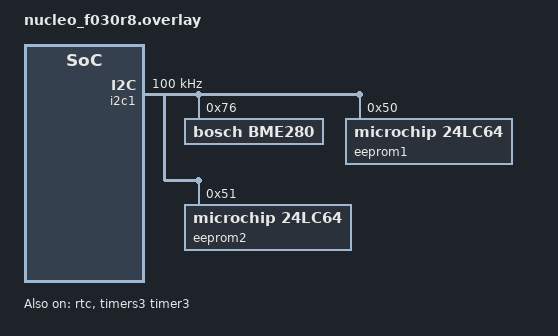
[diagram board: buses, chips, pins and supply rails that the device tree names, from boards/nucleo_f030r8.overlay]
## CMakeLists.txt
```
# SPDX-License-Identifier: Apache-2.0

cmake_minimum_required(VERSION 3.20.0)
set(BOARD nrf52833dk_nrf52833)
# set(BOARD nrf52840dongle_nrf52840)

find_package(Zephyr REQUIRED HINTS $ENV{ZEPHYR_BASE})
project(domotica)

FILE(GLOB app_sources src/*.c)
target_sources(app PRIVATE ${app_sources})
```

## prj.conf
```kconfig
CONFIG_SYSTEM_WORKQUEUE_STACK_SIZE=2048

CONFIG_BOARD_HAS_NRF5_BOOTLOADER=n

CONFIG_BT_SETTINGS=y
CONFIG_FLASH=y
CONFIG_FLASH_MAP=y
CONFIG_NVS=y
CONFIG_SETTINGS=y
CONFIG_HWINFO=y

CONFIG_BT=y
CONFIG_BT_L2CAP_TX_BUF_COUNT=5
CONFIG_BT_PERIPHERAL=y
CONFIG_BT_OBSERVER=y
CONFIG_BT_BROADCASTER=y

CONFIG_BT_CTLR_DUP_FILTER_LEN=0
CONFIG_BT_CTLR_LE_ENC=n
CONFIG_BT_CTLR_LE_PING=n
CONFIG_BT_DATA_LEN_UPDATE=n
CONFIG_BT_PHY_UPDATE=n
CONFIG_BT_CTLR_MIN_USED_CHAN=n
CONFIG_BT_CTLR_PRIVACY=n
CONFIG_BT_CTLR_CHAN_SEL_2=n

CONFIG_BT_MESH=y
CONFIG_BT_MESH_MODEL_EXTENSIONS=y
CONFIG_BT_MESH_RELAY=y
CONFIG_BT_MESH_FRIEND=y
CONFIG_BT_MESH_PB_GATT=y
CONFIG_BT_MESH_PB_ADV=y
CONFIG_BT_MESH_GATT_PROXY=y

CONFIG_BT_MESH_SUBNET_COUNT=2
CONFIG_BT_MESH_APP_KEY_COUNT=2
CONFIG_BT_MESH_MODEL_GROUP_COUNT=2
CONFIG_BT_MESH_LABEL_COUNT=3

CONFIG_BT_MESH_CFG_CLI=y
CONFIG_BT_MESH_CFG_CLI_TIMEOUT=6000
```

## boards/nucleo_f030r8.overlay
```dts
/*
 * Copyright (c) 2023 JSC
 */

/** From st,stm32-i2c-v2.yaml

@see TIMING_R in user manual!!!

timings = <64000000 I2C_BITRATE_STANDARD 0x10707DBC>,
          <64000000 I2C_BITRATE_FAST 0x00603D56>,
          <56000000 I2C_BITRATE_STANDARD 0x10606DA4>,
          <56000000 I2C_BITRATE_FAST 0x00501D63>;
 */

&i2c1 {
	bme280@76 {
		compatible = "bosch,bme280";
		reg = <0x76>;
		status = "okay";
	};
	clock-frequency = <I2C_BITRATE_STANDARD>;
	timings = <8000000 I2C_BITRATE_STANDARD 0x10420F13>,
	          <16000000 I2C_BITRATE_STANDARD 0x30420F13>,
	          <48000000 I2C_BITRATE_STANDARD 0xB0420F13>;
	status = "okay";

	eeprom1: e24lc64@50 {
		compatible = "microchip,24lc64";
		reg = <0x50>;
		size = <8192>; // Size in bytes
		status = "okay";
	};

	eeprom2: e24lc64@51 {
		compatible = "microchip,24lc64";
		reg = <0x51>;
		size = <8192>; // Size in bytes
		status = "okay";
	};

//16.384
};

&rtc {
    status="okay";
    clocks = < &rcc 0x1c 0x10000000 >, < &rcc STM32_SRC_LSE RTC_SEL(1) >;
}; 

&clk_lse {
    status="okay";
    driving-capability = < 0x1 >;
    /delete-property/ lse-bypass;
};

&timers3{
	status = "okay";
	label = "timer3";
};
```

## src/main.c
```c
/* main.c - Application main entry point */

/*
 * Copyright (c) 2017 Intel Corporation
 *
 * SPDX-License-Identifier: Apache-2.0
 */

#include <zephyr/sys/printk.h>

#include <zephyr/settings/settings.h>
#include <zephyr/devicetree.h>
#include <zephyr/device.h>
#include <zephyr/drivers/gpio.h>
#include <zephyr/drivers/hwinfo.h>
#include <zephyr/sys/byteorder.h>

#include <zephyr/bluetooth/bluetooth.h>
#include <zephyr/bluetooth/mesh.h>

#include <zephyr/bluetooth/mesh/cfg_cli.h> //For adding subscribtions
#include <zephyr/bluetooth/mesh/cfg_srv.h> //For adding subscribtions

#include "/Users/dinordi/zephyrproject/zephyr/include/zephyr/bluetooth/mesh/cfg_cli.h"

#include "board.h"

#define OP_ONOFF_GET       BT_MESH_MODEL_OP_2(0x82, 0x01)
#define OP_ONOFF_SET       BT_MESH_MODEL_OP_2(0x82, 0x02)
#define OP_ONOFF_SET_UNACK BT_MESH_MODEL_OP_2(0x82, 0x03)
#define OP_ONOFF_STATUS    BT_MESH_MODEL_OP_2(0x82, 0x04)

#define LED0_NODE DT_ALIAS(led0)
#define LED_GPIO_DEV_NAME DT_LABEL(DT_ALIAS(led_gpio))
static const struct gpio_dt_spec led = GPIO_DT_SPEC_GET(LED0_NODE, gpios);

BT_MESH_MODEL_PUB_DEFINE(gen_onoff_pub_cli, NULL, 2 + 2);

static bool button_pressed_flag = false;
static int gen_onoff_send(bool val);


// #define LED_PORT DT_GPIO_LABEL(DT_ALIAS(led0), gpios)
// #define LED_PIN DT_GPIO_PIN(DT_ALIAS(led0), gpios)

static void attention_on(struct bt_mesh_model *mod)
{
	board_led_set(true);
}

static void attention_off(struct bt_mesh_model *mod)
{
	board_led_set(false);
}

static const struct bt_mesh_health_srv_cb health_cb = {
	.attn_on = attention_on,
	.attn_off = attention_off,
};

static struct bt_mesh_health_srv health_srv = {
	.cb = &health_cb,
};

BT_MESH_HEALTH_PUB_DEFINE(health_pub, 0);

static const char *const onoff_str[] = { "off", "on" };

static struct {
	bool val;
	uint8_t tid;
	uint16_t src;
	uint32_t transition_time;
	struct k_work_delayable work;
} onoff;

/* OnOff messages' transition time and remaining time fields are encoded as an
 * 8 bit value with a 6 bit step field and a 2 bit resolution field.
 * The resolution field maps to:
 * 0: 100 ms
 * 1: 1 s
 * 2: 10 s
 * 3: 20 min
 */
static const uint32_t time_res[] = {
	100,
	MSEC_PER_SEC,
	10 * MSEC_PER_SEC,
	10 * 60 * MSEC_PER_SEC,
};

static inline int32_t model_time_decode(uint8_t val)
{
	uint8_t resolution = (val >> 6) & BIT_MASK(2);
	uint8_t steps = val & BIT_MASK(6);

	if (steps == 0x3f) {
		return SYS_FOREVER_MS;
	}

	return steps * time_res[resolution];
}

static inline uint8_t model_time_encode(int32_t ms)
{
	if (ms == SYS_FOREVER_MS) {
		return 0x3f;
	}

	for (int i = 0; i < ARRAY_SIZE(time_res); i++) {
		if (ms >= BIT_MASK(6) * time_res[i]) {
			continue;
		}

		uint8_t steps = DIV_ROUND_UP(ms, time_res[i]);

		return steps | (i << 6);
	}

	return 0x3f;
}

static int onoff_status_send(struct bt_mesh_model *model,
			     struct bt_mesh_msg_ctx *ctx)
{
	uint32_t remaining;

	BT_MESH_MODEL_BUF_DEFINE(buf, OP_ONOFF_STATUS, 3);
	bt_mesh_model_msg_init(&buf, OP_ONOFF_STATUS);

	remaining = k_ticks_to_ms_floor32(
			    k_work_delayable_remaining_get(&onoff.work)) +
		    onoff.transition_time;

	/* Check using remaining time instead of "work pending" to make the
	 * onoff status send the right value on instant transitions. As the
	 * work item is executed in a lower priority than the mesh message
	 * handler, the work will be pending even on instant transitions.
	 */
	if (remaining) {
		net_buf_simple_add_u8(&buf, !onoff.val);
		net_buf_simple_add_u8(&buf, onoff.val);
		net_buf_simple_add_u8(&buf, model_time_encode(remaining));
	} else {
		net_buf_simple_add_u8(&buf, onoff.val);
	}

	return bt_mesh_model_send(model, ctx, &buf, NULL, NULL);
}

static void onoff_timeout(struct k_work *work)
{
	if (onoff.transition_time) {
		/* Start transition.
		 *
		 * The LED should be on as long as the transition is in
		 * progress, regardless of the target value, according to the
		 * Bluetooth Mesh Model specification, section 3.1.1.
		 */
		board_led_set(true);

		k_work_reschedule(&onoff.work, K_MSEC(onoff.transition_time));
		onoff.transition_time = 0;
		return;
	}

	board_led_set(onoff.val);
}

/* Generic OnOff Server message handlers */

static int gen_onoff_get(struct bt_mesh_model *model,
			 struct bt_mesh_msg_ctx *ctx,
			 struct net_buf_simple *buf)
{
	printk("Get received!\n");
	onoff_status_send(model, ctx);
	return 0;
}

static int gen_onoff_set_unack(struct bt_mesh_model *model,
			       struct bt_mesh_msg_ctx *ctx,
			       struct net_buf_simple *buf)
{
	uint8_t val = net_buf_simple_pull_u8(buf);
	uint8_t tid = net_buf_simple_pull_u8(buf);
	int32_t trans = 0;
	int32_t delay = 0;

	if (buf->len) {
		trans = model_time_decode(net_buf_simple_pull_u8(buf));
		delay = net_buf_simple_pull_u8(buf) * 5;
	}

	/* Only perform change if the message wasn't a duplicate and the
	 * value is different.
	 */
	if (tid == onoff.tid && ctx->addr == onoff.src) {
		/* Duplicate */
		return 0;
	}

	if (val == onoff.val) {
		/* No change */
		return 0;
	}

	printk("set: %s delay: %d ms time: %d ms\n", onoff_str[val], delay,
	       trans);

	onoff.tid = tid;
	onoff.src = ctx->addr;
	onoff.val = val;
	onoff.transition_time = trans;

	/* Schedule the next action to happen on the delay, and keep
	 * transition time stored, so it can be applied in the timeout.
	 */
	k_work_reschedule(&onoff.work, K_MSEC(delay));

	return 0;
}

static void gen_onoff_set(struct bt_mesh_model *model,
						  struct bt_mesh_msg_ctx *ctx,
						  struct net_buf_simple *buf)
{
	uint8_t onoff_state = net_buf_simple_pull_u8(buf);

	/* Toggle the LED based on the onoff_state */
	if (onoff_state) {
		gpio_pin_set_dt(&led, 1);
		printk("LED ON\n");
	} else {
		gpio_pin_set_dt(&led, 0);
		printk("LED OFF\n");
	}

	/* Prepare a response */
	NET_BUF_SIMPLE_DEFINE(msg, 2 + 1 + 4);
	bt_mesh_model_msg_init(&msg, BT_MESH_MODEL_OP_2(0x82, 0x04));

	/* Add the OnOff state to the message */
	net_buf_simple_add_u8(&msg, onoff_state);

	/* Send the response */
	bt_mesh_model_send(model, ctx, &msg, NULL, NULL);
}

static const struct bt_mesh_model_op gen_onoff_srv_op[] = {
	{ OP_ONOFF_GET,       BT_MESH_LEN_EXACT(0), gen_onoff_get },
	{ OP_ONOFF_SET,       BT_MESH_LEN_MIN(2),   gen_onoff_set },
	{ OP_ONOFF_SET_UNACK, BT_MESH_LEN_MIN(2),   gen_onoff_set_unack },
	BT_MESH_MODEL_OP_END,
};

/* Generic OnOff Client */

static int gen_onoff_status(struct bt_mesh_model *model,
			    struct bt_mesh_msg_ctx *ctx,
			    struct net_buf_simple *buf)
{
	uint8_t present = net_buf_simple_pull_u8(buf);

	if (buf->len) {
		uint8_t target = net_buf_simple_pull_u8(buf);
		int32_t remaining_time =
			model_time_decode(net_buf_simple_pull_u8(buf));

		printk("OnOff status: %s -> %s: (%d ms)\n", onoff_str[present],
		       onoff_str[target], remaining_time);
		return 0;
	}

	printk("OnOff status: %s\n", onoff_str[present]);
	onoff.val = present;
	if(button_pressed_flag)
	{
		button_pressed_flag = false;
		printk("Button pressed\n");
		(void)gen_onoff_send(!onoff.val);
	}

	return 0;
}

static const struct bt_mesh_model_op gen_onoff_cli_op[] = {
	{OP_ONOFF_STATUS, BT_MESH_LEN_MIN(1), gen_onoff_status},
	BT_MESH_MODEL_OP_END,
};

static struct bt_mesh_cfg_cli cfg_cli;

/* This application only needs one element to contain its models */
static struct bt_mesh_model models[] = {
	BT_MESH_MODEL_CFG_SRV,
	BT_MESH_MODEL_HEALTH_SRV(&health_srv, &health_pub),
	BT_MESH_MODEL(BT_MESH_MODEL_ID_GEN_ONOFF_SRV, gen_onoff_srv_op, NULL,
		      NULL),
	BT_MESH_MODEL(BT_MESH_MODEL_ID_GEN_ONOFF_CLI, gen_onoff_cli_op, &gen_onoff_pub_cli,
		      &onoff),
};

static struct bt_mesh_elem elements[] = {
	BT_MESH_ELEM(0, models, BT_MESH_MODEL_NONE),
};

static const struct bt_mesh_comp comp = {
	.cid = BT_COMP_ID_LF,
	.elem = elements,
	.elem_count = ARRAY_SIZE(elements),
};

/* Provisioning */

static int output_number(bt_mesh_output_action_t action, uint32_t number)
{
	printk("OOB Number: %u\n", number);

	board_output_number(action, number);

	return 0;
}

static void prov_complete(uint16_t net_idx, uint16_t addr)
{
	board_prov_complete();
}

static void prov_reset(void)
{
	bt_mesh_prov_enable(BT_MESH_PROV_ADV | BT_MESH_PROV_GATT);
}

static uint8_t dev_uuid[16];

static const struct bt_mesh_prov prov = {
	.uuid = dev_uuid,
	.output_size = 4,
	.output_actions = BT_MESH_DISPLAY_NUMBER,
	.output_number = output_number,
	.complete = prov_complete,
	.reset = prov_reset,
};

/** Send an OnOff Set message from the Generic OnOff Client to all nodes. */
static int gen_onoff_send(bool val)
{
	struct bt_mesh_msg_ctx ctx = {
		.app_idx = models[3].keys[0], /* Use the bound key */
		.addr = models[3].groups[0],
		.send_ttl = BT_MESH_TTL_DEFAULT,
	};
	static uint8_t tid;

	if (ctx.app_idx == BT_MESH_KEY_UNUSED) {
		printk("The Generic OnOff Client must be bound to a key before "
		       "sending.\n");
		return -ENOENT;
	}

	BT_MESH_MODEL_BUF_DEFINE(buf, OP_ONOFF_SET_UNACK, 2);
	bt_mesh_model_msg_init(&buf, OP_ONOFF_SET_UNACK);
	net_buf_simple_add_u8(&buf, val);
	net_buf_simple_add_u8(&buf, tid++);

	printk("Sending OnOff Set: %s\nTo address: %d\n", onoff_str[val], models[3].groups[0]);

	return bt_mesh_model_send(&models[3], &ctx, &buf, NULL, NULL);
}

void (*status_cb)(uint8_t status, uint16_t net_idx, uint16_t addr, uint16_t elem_addr, uint16_t sub_addr, uint16_t model_id);

void sub_add_status_cb(uint8_t status, uint16_t net_idx, uint16_t addr, uint16_t elem_addr, uint16_t sub_addr, uint16_t model_id)
{
	if (status == 0) {
		printk("Successfully added subscription\n");
	} else {
		printk("Failed to add subscription (status %d)\n", status);
	}
}


void subscribe_to_group(uint16_t group_addr, uint16_t target_node) {

	uint16_t unicast_addr = bt_mesh_primary_addr();
    uint16_t model_id = BT_MESH_MODEL_ID_GEN_ONOFF_CLI;
    
									//Net_index, target_node, element_addr, group_addr, model_id, status_cb
    int err = bt_mesh_cfg_cli_mod_sub_add(0, 0x001D, 0x001D, 0xC001, 0x1001, NULL);
    if (err) {
        printk("Error adding subscription (err %d)\n", err);
    }

}

void unsubscribe_from_group(uint16_t group_addr, uint16_t target_node) {
	uint16_t element_addr = bt_mesh_primary_addr();
    uint16_t app_idx = models[3].keys[0];
    uint16_t model_id = BT_MESH_MODEL_ID_GEN_ONOFF_CLI;
    uint16_t net_idx = bt_mesh_primary_addr();

    int err = bt_mesh_cfg_cli_mod_sub_add(net_idx, target_node, element_addr, group_addr, model_id, NULL);
    if (err) {
        printk("Error removing subscription (err %d)\n", err);
    }
}

static void button_pressed(struct k_work *work)
{
	if (bt_mesh_is_provisioned()) {
		struct bt_mesh_msg_ctx ctx = {
			.app_idx = models[3].keys[0], /* Use the bound key */
			// .addr = models[3].pub->addr, //Use the publication address
			.addr = models[3].groups[0], //Use the subscription address
			.send_ttl = BT_MESH_TTL_DEFAULT,
		};
		// subscribe_to_group(0xC004, 0x0018);

		BT_MESH_MODEL_BUF_DEFINE(buf, OP_ONOFF_GET, 2);
		bt_mesh_model_msg_init(&buf, OP_ONOFF_GET);

		int err = bt_mesh_model_send(&models[3], &ctx, &buf, NULL, NULL);
		if (err) {
			printk("Unable to send OnOff Get message (err %d)\n", err);
		}
		printk("sent onoff get to address: %d\n", ctx.addr);
		button_pressed_flag = true;
		return;
	}

	/* Self-provision with an arbitrary address.
	 *
	 * NOTE: This should never be done in a production environment.
	 *       Addresses should be assigned by a provisioner, and keys should
	 *       be generated from true random numbers. It is done in this
	 *       sample to allow testing without a provisioner.
	 */
	static uint8_t net_key[16];
	static uint8_t dev_key[16];
	static uint8_t app_key[16];
	uint16_t addr;
	int err;

	if (IS_ENABLED(CONFIG_HWINFO)) {
		addr = sys_get_le16(&dev_uuid[0]) & BIT_MASK(15);
	} else {
		addr = k_uptime_get_32() & BIT_MASK(15);
	}

	printk("Self-provisioning with address 0x%04x\n", addr);
	err = bt_mesh_provision(net_key, 0, 0, 0, addr, dev_key);
	if (err) {
		printk("Provisioning failed (err: %d)\n", err);
		return;
	}

	/* Add an application key to both Generic OnOff models: */
	err = bt_mesh_app_key_add(0, 0, app_key);
	if (err) {
		printk("App key add failed (err: %d)\n", err);
		return;
	}

	/* Models must be bound to an app key to send and receive messages with
	 * it:
	 */
	models[2].keys[0] = 0;
	models[3].keys[0] = 0;

	printk("Provisioned and configured!\n");
}

static void bt_ready(int err)
{
	if (err) {
		printk("Bluetooth init failed (err %d)\n", err);
		return;
	}

	printk("Bluetooth initialized\n");

	err = bt_mesh_init(&prov, &comp);
	if (err) {
		printk("Initializing mesh failed (err %d)\n", err);
		return;
	}

	if (IS_ENABLED(CONFIG_SETTINGS)) {
		settings_load();
	}

	/* This will be a no-op if settings_load() loaded provisioning info */
	bt_mesh_prov_enable(BT_MESH_PROV_ADV | BT_MESH_PROV_GATT);

	printk("Mesh initialized\n");
}

int main(void)
{
	static struct k_work button_work;
	int err = -1;

	printk("Initializing...\n");

	if (IS_ENABLED(CONFIG_HWINFO)) {
		err = hwinfo_get_device_id(dev_uuid, sizeof(dev_uuid));
	}

	if (err < 0) {
		dev_uuid[0] = 0xdd;
		dev_uuid[1] = 0xdd;
	}

	k_work_init(&button_work, button_pressed);

	err = board_init(&button_work);
	if (err) {
		printk("Board init failed (err: %d)\n", err);
		return 0;
	}

	k_work_init_delayable(&onoff.work, onoff_timeout);

	/* Initialize the Bluetooth Subsystem */
	err = bt_enable(bt_ready);
	if (err) {
		printk("Bluetooth init failed (err %d)\n", err);
	}

	int ret;
	if (!gpio_is_ready_dt(&led)) {
		return 0;
	}

	// ret = gpio_pin_configure_dt(&led, GPIO_OUTPUT_ACTIVE);
	// if (ret < 0) {
	// 	return 0;
	// }

	// while (1) {
	// 	ret = gpio_pin_toggle_dt(&led);
	// 	if (ret < 0) {
	// 		return 0;
	// 	}
	// 	k_msleep(1000);
	// }
	// return 0;


	return 0;
}
```

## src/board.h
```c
void board_output_number(bt_mesh_output_action_t action, uint32_t number);

void board_prov_complete(void);

int board_init(struct k_work *button_work);

void board_led_set(bool val);
```

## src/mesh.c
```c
// #include "mesh.h"


// struct bt_mesh_cfg_app_key_list app_keys;


// void get_app_keys(struct bt_mesh_cfg_app_key_list* app_keys){
//     uint16_t net_idx = bt_mesh_primary_net_idx();
//     uint16_t addr = bt_mesh_primary_addr();
//     int err;

//     err = bt_mesh_cfg_app_key_get(net_idx, addr, net_idx, app_keys, NULL);
//     if (err) {
//         printk("Unable to get Application Keys (err %d)\n", err);
//         return;
//     }

//     for (int i = 0; i < app_keys->count; i++) {
//         printk("AppKey Index: %u\n", app_keys->keys[i]);
//     }
// }
```

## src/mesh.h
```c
// #include <zephyr/bluetooth/bluetooth.h>
// #include <zephyr/bluetooth/mesh.h>


// void get_app_keys(struct bt_mesh_cfg_app_key_list* app_keys);
```

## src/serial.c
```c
#include "serial.h"

K_MSGQ_DEFINE(uart_msgq, 2, 270, 4);
char send_buf[256];

void send_str(const struct device *dev, const char *str) {  //This functions sends the string over uart
    int msg_len = strlen(str);
    
    printk("Device %s sending: \"%s\"\n", dev->name, str);
    for (int i = 0; i < msg_len; i++) {
        uart_poll_out(dev, str[i]);
    }
 
}

char* sendUart(const char* str, const struct device *uart_dev)//Send string to ESP and return the response
{
    
    snprintf(send_buf, 200, str);
    send_str(uart_dev, send_buf);
    
    return returnUsartStr();
}

char* returnUsartStr()   //put characters from messagequeue into string and return it
{
    int ret;
    uint8_t ok = 0;
    uint16_t c;
    rx_buf_pos = 0;
    for(int i = 0; i< sizeof(rx_buf); i++)
    {
        rx_buf[i] = '\0';
    }
    
   
    while(1)
    {
        ret = k_msgq_get(&uart_msgq, &c, K_FOREVER);
        printk("%c", c);
        if (ret == 0) {
            // printk("Received: %c\n", uart_data);
            rx_buf[rx_buf_pos] = c;
            rx_buf_pos++;
        }

        return rx_buf;
    }
}

void readUsart(const struct device *uart_dev, void *user_data)//The usart interrupt calss this function and will put the character into the messagequeue
{
    printk("Interrupt triggered\n");
    int ret;
    uint16_t c;
    
    ret = uart_poll_in(uart_dev, &c);
    if (ret == 0) {
        
        ret = k_msgq_put(&uart_msgq, &c, K_NO_WAIT);
        if (ret != 0) {
            printk("Failed to put data into message queue\n");
        }
        

    } else if (ret == -EAGAIN) {
        // No data available, handle it accordingly
    } else {
        // Handle error, if any
        printk("UART read error: %d\n", ret);
    }
}
```

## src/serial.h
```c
#ifndef serial_H_
#define serial_H_

#include <zephyr/kernel.h>
// #include <zephyr/devicetree.h>
#include <zephyr/device.h>
#include <zephyr/drivers/uart.h>
#include <string.h>
#include <stdio.h>
#include <time.h>


#define MSG_SIZE 512



 
static char rx_buf[MSG_SIZE];
static int rx_buf_pos = 0;

void send_str(const struct device *dev, const char *str);
void readUsart();
char* returnUsartStr();
char* sendUart(const char* str, const struct device *uart_dev);

#endif 
```
